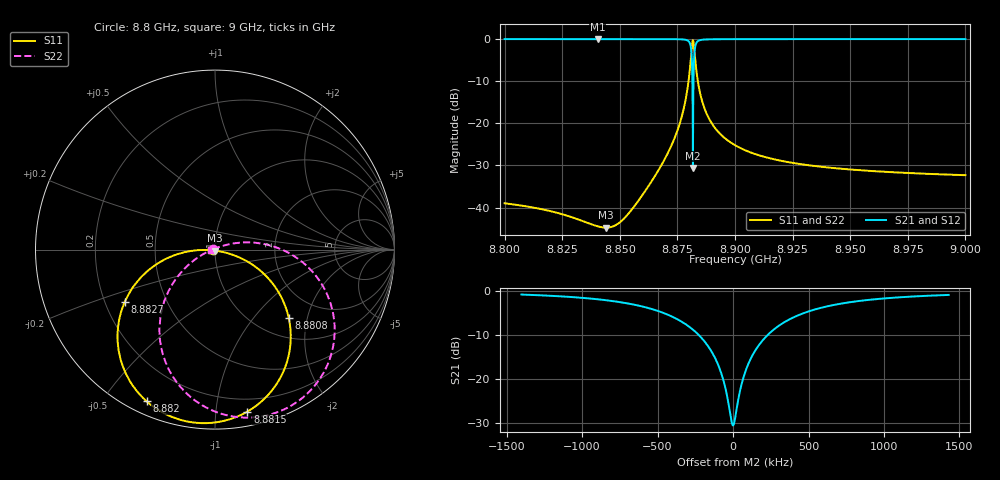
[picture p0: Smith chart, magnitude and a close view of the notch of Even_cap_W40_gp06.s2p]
! Sonnet Data File
! From: emgraph Version : 16.52
! From Project: Resonator2_cp_varyW
! Data is De-embedded
! Data File Written: 10/07/2017 09:25:24
!< HDATE 10/06/2017 17:18:21
!< MDATE 10/06/2017 17:18:21
!< PARAMS
!< gap = 6.0
!< Length = 400.0
!< Pwid1 = 2000.0
!< Pwid2 = 2000.0
!< Air_gap = 24.0
!< Width = 40.0
!< END PARAMS
# GHZ S MA R 51.80000
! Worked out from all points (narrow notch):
!   1595 points, 8.8 GHz to 9 GHz, reference 51.8 ohm
!   highest |S21| = 0.00 dB at 8.8404 GHz (marker M1); lowest = -30.6 dB at 8.8817 GHz (marker M2)
!   notch at M2: 30.6 dB deep, 238 kHz wide at half that depth
!   lowest |S11| = -44.8 dB at 8.844 GHz (marker M3), VSWR 1.01, Z = 51.7 - j0.593 ohm
!   |S11| at or under -10 dB: start of sweep to 8.8798 GHz; 8.8839 GHz to end of sweep
!   |S22| runs from -44.8 to -0.3 dB; largest |S21 - S12| = 0
!   S11 on the Smith chart (normalised r, x): 8.8 GHz: 0.98, -0.01; 8.8808 GHz: 1.39, -1.55; 8.8815 GHz: 0.10, -1.22; 8.882 GHz: 0.05, -0.64; 8.8827 GHz: 0.28, -0.25; 9 GHz: 0.95, -0.01
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8.8  0.01125 -154.9  0.9999 -81.3  0.9999 -81.3  0.01125 172.3
!< P1 F=8.8 Eeff=(6.44313487 -2.9703e-5) Z0=(50.4821399 1.16465e-4) R=0.0 C=0.0
!< P2 F=8.8 Eeff=(6.44313487 -2.9703e-5) Z0=(50.4821399 1.16465e-4) R=0.0 C=0.0
8.8334  0.007001 -130.8  1 -82.0  1 -82.0  0.006995 146.9
8.8404  0.005994 -112.0  1 -82.2  1 -82.2  0.005983 127.8
8.844  0.00578 -97.1  1 -82.3  1 -82.3  0.005765 112.5
8.852395  0.007695 -55.9  1 -82.6  1 -82.6  0.007675 70.4
8.866778  0.02776 -20.6  0.9996 -84.0  0.9996 -84.0  0.02774 32.3
8.876371  0.1071 -16.5  0.9938 -88.7  0.9938 -88.7  0.1071 18.5
8.879591  0.2828 -25.1  0.9563 -99.0  0.9563 -99.0  0.2827 5.9
8.880786  0.561 -42.9  0.8156 -116.7  0.8156 -116.7  0.5608 -13.1
8.88151  0.9203 -78.7  0.3184 -149.0  0.3184 -149.0  0.9199 -49.6
8.88165  0.9622 -89.6  0.1342 -152.5  0.1342 -152.5  0.9619 -60.6
8.881742  0.9707 -97.1  0.02945 -81.5  0.02945 -81.5  0.9704 -68.2
8.88183  0.963 -104.3  0.1298 -12.8  0.1298 -12.8  0.9627 -75.5
8.88196  0.9268 -114.3  0.2996 -15.3  0.2996 -15.3  0.9265 -85.7
8.882209  0.8085 -130.5  0.5548 -28.8  0.5548 -28.8  0.8082 -102.1
8.882699  0.5797 -150.0  0.8029 -47.2  0.8029 -47.2  0.5795 -122.1
8.8842  0.2798 -169.2  0.9579 -66.4  0.9579 -66.4  0.2798 -142.7
8.887817  0.1279 -177.0  0.9914 -75.3  0.9914 -75.3  0.1278 -153.3
8.9  0.05503 -178.0  0.9984 -79.7  0.9984 -79.7  0.05502 -161.2
8.9334  0.03145 -175.1  0.9995 -81.3  0.9995 -81.3  0.03145 -167.5
8.9668  0.02643 -173.7  0.9996 -81.9  0.9996 -81.9  0.02643 -170.2
9  0.02425 -172.9  0.9997 -82.4  0.9997 -82.4  0.02425 -171.8
